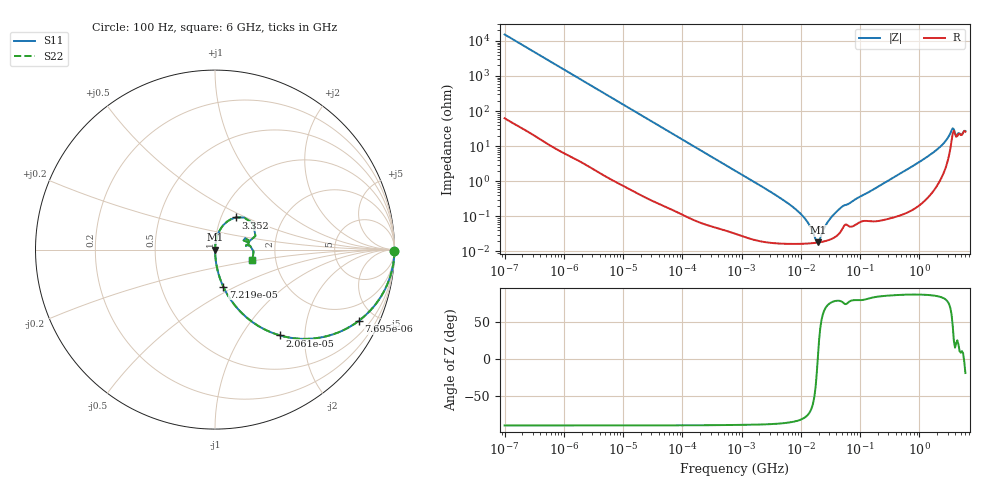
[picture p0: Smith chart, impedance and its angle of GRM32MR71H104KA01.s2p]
!Murata Part Number: GRM32MR71H104KA01
!These Parameters are Measured in Series Mode Connection
!Data Generated on Mar 30, 2021
!  o--ll--o
!Port1  Port2
!  o------o
!Operation Temp=25[degC], DC Bias Voltage=0[V]
!Freq. Start=100[Hz] Stop=6[GHz] 401[Steps]
# Hz S RI R 50
!Freq.(Hz) S11(Real) S11(Imag) S21(Real) S21(Imag) S12(Real) S12(Imag) S22(Real) S22(Imag)
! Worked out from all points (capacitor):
!   401 points, 100 Hz to 6 GHz, reference 50 ohm
!   read as one part in series: C = 104 nF near 109 Hz
!   lowest |Z| = 18 mohm at 19.46 MHz (marker M1)
!   series resonance near 19.31 MHz, so ESL is about 650 pH
!   S11 on the Smith chart (normalised r, x): 100 Hz: open; 7.695 kHz: 1.02, -4.02; 20.61 kHz: 1.01, -1.51; 72.19 kHz: 1.00, -0.43; 3.352 GHz: 1.18, +0.44; 6 GHz: 1.52, -0.18
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100  0.9999 -0.00654  6.96e-05 0.00654  6.96e-05 0.00654  0.9999 -0.00654
2008  0.9828 -0.128  0.0172 0.128  0.0172 0.128  0.9828 -0.128
7695  0.8006 -0.3972  0.1994 0.3972  0.1994 0.3972  0.8006 -0.3972
13169  0.5803 -0.491  0.4197 0.491  0.4197 0.491  0.5803 -0.491
20606  0.3626 -0.4782  0.6374 0.4782  0.6374 0.4782  0.3626 -0.4782
40335  0.1309 -0.3343  0.8691 0.3343  0.8691 0.3343  0.1309 -0.3343
72189  0.0458 -0.2057  0.9542 0.2057  0.9542 0.2057  0.0458 -0.2057
774597  0.000734 -0.0203  0.9993 0.0203  0.9993 0.0203  0.000734 -0.0203
7266822  0.000168 -0.00187  0.9998 0.00187  0.9998 0.00187  0.000168 -0.00187
1.137099e7  0.000167 -0.000912  0.9998 0.000912  0.9998 0.000912  0.000167 -0.000912
1.555665e7  0.000172 -0.000358  0.9998 0.000358  0.9998 0.000358  0.000172 -0.000358
1.779312e7  0.000176 -0.000134  0.9998 0.000134  0.9998 0.000134  0.000176 -0.000134
1.946e7  0.00018 1.32e-05  0.9998 -1.32e-05  0.9998 -1.32e-05  0.00018 1.32e-05
2.911731e7  0.00021 0.0007  0.9998 -0.0007  0.9998 -0.0007  0.00021 0.0007
4.556224e7  0.000344 0.00163  0.9997 -0.00163  0.9997 -0.00163  0.000344 0.00163
3.124326e8  0.000981 0.0108  0.999 -0.0108  0.999 -0.0108  0.000981 0.0108
1.712697e9  0.00937 0.0648  0.9906 -0.0648  0.9906 -0.0648  0.00937 0.0648
2.679998e9  0.0353 0.1218  0.9647 -0.1218  0.9647 -0.1218  0.0353 0.1218
3.352442e9  0.117 0.1792  0.883 -0.1792  0.883 -0.1792  0.117 0.1792
3.666503e9  0.2137 0.1451  0.7863 -0.1451  0.7863 -0.1451  0.2137 0.1451
4.586474e9  0.187 0.0518  0.813 -0.0518  0.813 -0.0518  0.187 0.0518
6e9  0.2088 -0.0561  0.7912 0.0561  0.7912 0.0561  0.2088 -0.0561
